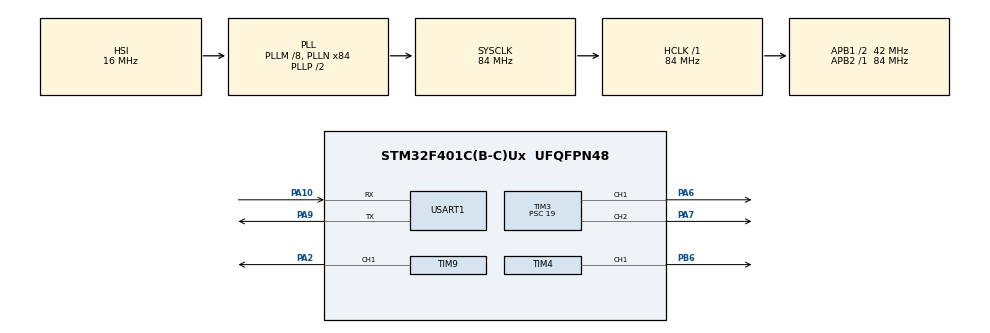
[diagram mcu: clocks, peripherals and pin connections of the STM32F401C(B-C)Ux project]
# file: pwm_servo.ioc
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Dma.Request0=USART1_RX
Dma.USART1_RX.0.Direction=DMA_PERIPH_TO_MEMORY
Dma.USART1_RX.0.FIFOMode=DMA_FIFOMODE_DISABLE
Dma.USART1_RX.0.Instance=DMA2_Stream2
Dma.USART1_RX.0.MemDataAlignment=DMA_MDATAALIGN_BYTE
Dma.USART1_RX.0.MemInc=DMA_MINC_ENABLE
Dma.USART1_RX.0.Mode=DMA_CIRCULAR
Dma.USART1_RX.0.PeriphDataAlignment=DMA_PDATAALIGN_BYTE
Dma.USART1_RX.0.PeriphInc=DMA_PINC_DISABLE
Dma.USART1_RX.0.Priority=DMA_PRIORITY_LOW
FREERTOS.Tasks01=servo,24,256,StartDefaultTask,Default,NULL,Dynamic,NULL,NULL;buzzer,23,256,StartTask02,Default,NULL,Dynamic,NULL,NULL;led,9,256,StartTask03,Default,NULL,Dynamic,NULL,NULL
FREERTOS.configTOTAL_HEAP_SIZE=15000
FREERTOS.configUSE_NEWLIB_REENTRANT=1
Mcu.Family=STM32F4
Mcu.Name=STM32F401C(B-C)Ux
Mcu.Package=UFQFPN48
NVIC.DMA2_Stream2_IRQn=true\:5\:0\:false\:false\:true\:true\:false\:true\:true
NVIC.PriorityGroup=NVIC_PRIORITYGROUP_4
NVIC.TIM1_UP_TIM10_IRQn=true\:15\:0\:false\:false\:true\:false\:false\:true\:true
NVIC.TimeBase=TIM1_UP_TIM10_IRQn
NVIC.TimeBaseIP=TIM1
PA10.Mode=Asynchronous
PA10.Signal=USART1_RX
PA13.Mode=Serial_Wire
PA13.Signal=SYS_JTMS-SWDIO
PA14.Mode=Serial_Wire
PA14.Signal=SYS_JTCK-SWCLK
PA2.Signal=S_TIM9_CH1
PA6.Signal=S_TIM3_CH1
PA7.Signal=S_TIM3_CH2
PA9.Mode=Asynchronous
PA9.Signal=USART1_TX
PB6.Signal=S_TIM4_CH1
PH0\ -\ OSC_IN.Mode=HSE-External-Oscillator
PH0\ -\ OSC_IN.Signal=RCC_OSC_IN
PH1\ -\ OSC_OUT.Mode=HSE-External-Oscillator
PH1\ -\ OSC_OUT.Signal=RCC_OSC_OUT
ProjectManager.HeapSize=0x200
ProjectManager.StackSize=0x400
ProjectManager.TargetToolchain=STM32CubeIDE
RCC.48MHZClocksFreq_Value=42000000
RCC.AHBFreq_Value=84000000
RCC.APB1CLKDivider=RCC_HCLK_DIV2
RCC.APB1Freq_Value=42000000
RCC.APB1TimFreq_Value=84000000
RCC.APB2Freq_Value=84000000
RCC.APB2TimFreq_Value=84000000
RCC.CortexFreq_Value=84000000
RCC.HCLKFreq_Value=84000000
RCC.HSE_VALUE=25000000
RCC.HSI_VALUE=16000000
RCC.LSE_VALUE=32768
RCC.PLLM=8
RCC.PLLN=84
RCC.SYSCLKFreq_VALUE=84000000
RCC.SYSCLKSource=RCC_SYSCLKSOURCE_PLLCLK
RCC.VCOOutputFreq_Value=168000000
SH.S_TIM3_CH1.0=TIM3_CH1,PWM Generation1 CH1
SH.S_TIM3_CH2.0=TIM3_CH2,PWM Generation2 CH2
SH.S_TIM4_CH1.0=TIM4_CH1,PWM Generation1 CH1
SH.S_TIM9_CH1.0=TIM9_CH1,PWM Generation1 CH1
TIM3.Channel-PWM\ Generation1\ CH1=TIM_CHANNEL_1
TIM3.Channel-PWM\ Generation2\ CH2=TIM_CHANNEL_2
TIM3.Period=41999
TIM3.Prescaler=19
TIM3.Pulse-PWM\ Generation1\ CH1=21000-1
TIM3.Pulse-PWM\ Generation2\ CH2=5250-1
TIM4.Channel-PWM\ Generation1\ CH1=TIM_CHANNEL_1
TIM4.Period=10000-1
TIM4.Prescaler=168-1
TIM4.Pulse-PWM\ Generation1\ CH1=500
TIM9.AutoReloadPreload=TIM_AUTORELOAD_PRELOAD_ENABLE
TIM9.Channel-PWM\ Generation1\ CH1=TIM_CHANNEL_1
TIM9.Period=1000
TIM9.Prescaler=42
USART1.VirtualMode=VM_ASYNC
VP_FREERTOS_VS_CMSIS_V2.Mode=CMSIS_V2
VP_SYS_VS_tim1.Mode=TIM1
VP_TIM3_VS_ClockSourceINT.Mode=Internal
VP_TIM4_VS_ClockSourceINT.Mode=Internal
VP_TIM9_VS_ClockSourceINT.Mode=Internal
board=custom

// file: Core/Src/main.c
/* USER CODE BEGIN Header */
/**
  ******************************************************************************
  * @file           : main.c
  * @brief          : Main program body
  ******************************************************************************
  * @attention
  *
  * Copyright (c) 2024 STMicroelectronics.
  * All rights reserved.
  *
  * This software is licensed under terms that can be found in the LICENSE file
  * in the root directory of this software component.
  * If no LICENSE file comes with this software, it is provided AS-IS.
  *
  ******************************************************************************
  */
/* USER CODE END Header */
#include "main.h"
#include "cmsis_os.h"
#include "dma.h"
#include "tim.h"
#include "usart.h"
#include "gpio.h"

/* USER CODE BEGIN PTD */

#define OCTAVE1 1
#define OCTAVE2 2
#define OCTAVE3 4
#define OCTAVE4 8
#define OCTAVE5 16
#define OCTAVE6 32
#define OCTAVE7 64
#define OCTAVE8 128

typedef enum{
	C = 61162/OCTAVE5,
	D = 54484/OCTAVE5,
	E = 48540/OCTAVE5,
	F = 45816/OCTAVE5,
	G = 40816/OCTAVE5,
	A = 36364/OCTAVE5,
	B = 32396/OCTAVE5,
	C_= 30578/OCTAVE5
}pitch_arr;
/* USER CODE END PTD */

/* USER CODE BEGIN PV */
uint8_t uart_send_data[64];
uint8_t uart_rx_data;
/* USER CODE END PV */

void SystemClock_Config(void);
void MX_FREERTOS_Init(void);
/* USER CODE BEGIN PFP */
void uart_send(uint8_t uart_num,char *fmt,...);
void buzzer_control();
void led_pwm_control(uint32_t *pretime,uint16_t *led_pwm_speed);
void servo_control(int16_t *servo_tick);

void HAL_UART_RxCpltCallback(UART_HandleTypeDef *huart)
{
	if(huart->Instance==huart1.Instance){
		UART_Start_Receive_DMA(&huart1, &uart_rx_data, 1);
	}
  UNUSED(huart);
}

void uart_send(uint8_t uart_num,char *fmt,...){
	va_list arg;
	va_start(arg,fmt);

	vsnprintf((char *)uart_send_data,64,fmt,arg);

	if(uart_num==1){
		HAL_UART_Transmit(&huart1, uart_send_data, 64, 10);
	}

	memset(uart_send_data,0,64);
	va_end(arg);
}

uint32_t pretime1;
bool buzzer_on=false;

void buzzer_control(){
	if(!buzzer_on){
		pretime1 = HAL_GetTick();
	}
	if((HAL_GetTick()-pretime1>=100)&&buzzer_on){
		pretime1=HAL_GetTick();
		htim9.Instance->CCR1 = 0;
		buzzer_on = false;
	}
	if(buzzer_on){
		return;
	}
	switch (uart_rx_data){
	case 'q':
		htim9.Instance->ARR = C;
		htim9.Instance->CCR1 = C/2;
		buzzer_on = true;
		uart_send(1,"C\n");
		break;
	case 'w':
		htim9.Instance->ARR = D;
		htim9.Instance->CCR1 = D/2;
		uart_send(1,"D\n");
		buzzer_on = true;
		break;
	case 'e':
		htim9.Instance->ARR = E;
		htim9.Instance->CCR1 = E/2;
		uart_send(1,"E\n");
		buzzer_on = true;
		break;
	case 'r':
		htim9.Instance->ARR = F;
		htim9.Instance->CCR1 = F/2;
		uart_send(1,"F\n");
		buzzer_on = true;
		break;
	case 't':
		htim9.Instance->ARR = G;
		htim9.Instance->CCR1 = G/2;
		uart_send(1,"G\n");
		buzzer_on = true;
		break;
	case 'y':
		htim9.Instance->ARR = A;
		htim9.Instance->CCR1 = A/2;
		uart_send(1,"A\n");
		buzzer_on = true;
		break;
	case 'u':
		htim9.Instance->ARR = B;
		htim9.Instance->CCR1 = B/2;
		uart_send(1,"B\n");
		buzzer_on = true;
		break;
	case 'i':
		htim9.Instance->ARR = C_;
		htim9.Instance->CCR1 = C_/2;
		uart_send(1,"C+\n");
		buzzer_on = true;
		break;
	default:
		break;
	}
}

void servo_control(int16_t *servo_tick){
	htim4.Instance->CCR1 = *servo_tick;
	if(uart_rx_data=='a'){
		if(*servo_tick<=140){
			uart_send(1,"servo minus degree is max!\n");
			*servo_tick=1300;
			return;
		}
		*servo_tick-=20;
		uart_send(1,"servo minus:%dtick,%d.%dms,%d'\n",
				*servo_tick,
				(*servo_tick/500),(*servo_tick/50)-(*servo_tick/500)*10,
				(*servo_tick-140)*180/1180);
	}
	else if(uart_rx_data=='s'){
		if(*servo_tick>=1320){
			uart_send(1,"servo plus degree is max!\n");
			*servo_tick=140;
			return;
		}
		*servo_tick+=20;
		uart_send(1,"servo plus:%dtick,%d.%dms,%d'\n",
				*servo_tick,
				(*servo_tick/500),(*servo_tick/50)-(*servo_tick/500)*10,
				(*servo_tick-140)*180/1180);
	}
}

void led_pwm_control(uint32_t *pretime,uint16_t *led_pwm_speed){
	uint16_t led_pwm_cal_val=500;
	if(HAL_GetTick()-*pretime>=50){
		htim3.Instance->CCR1=(htim3.Instance->CCR1+led_pwm_speed[0])%htim3.Init.Period;
		htim3.Instance->CCR2=(htim3.Instance->CCR2+led_pwm_speed[1])%htim3.Init.Period;
		*pretime=HAL_GetTick();
	}

	switch (uart_rx_data){
		case '1': //up led 1
			if(led_pwm_speed[0]<led_pwm_cal_val*4){
				led_pwm_speed[0]=led_pwm_speed[0]+led_pwm_cal_val;
				uart_send(1,"led 1 up speed, speed val : %d.\n",led_pwm_speed[0]);
			}
			else{
				uart_send(1,"led 1 pwm speed %d is too fast!\n",led_pwm_speed[0]);
			}
			break;
		case '2': //down led 1
			if(led_pwm_speed[0]>led_pwm_cal_val){
				led_pwm_speed[0]= led_pwm_speed[0]-led_pwm_cal_val;
				uart_send(1,"led 1 down speed, speed val : %d.\n",led_pwm_speed[0]);
			}
			else{
				uart_send(1,"led 1 pwm speed %d is too slow!\n",led_pwm_speed[0]);
			}
		  break;
		case '3': //up led 1
		  if(led_pwm_speed[1]<led_pwm_cal_val*4){
		   led_pwm_speed[1]=led_pwm_speed[1]+led_pwm_cal_val;
		   uart_send(1,"led 2 up speed, led speed val : %d.\n",led_pwm_speed[1]);
		  }
		  else{
		  	uart_send(1,"led 2 pwm speed %d is too fast!\n",led_pwm_speed[1]);
		  }
		  break;
		case '4': //down led 1
		  if(led_pwm_speed[1]>led_pwm_cal_val){
		  	led_pwm_speed[1]= led_pwm_speed[1]-led_pwm_cal_val;
		  	uart_send(1,"led 2 down speed, led speed val : %d.\n",led_pwm_speed[1]);
		  }
		  else{
		  	uart_send(1,"led 2 pwm speed %d is too slow!\n",led_pwm_speed[1]);
		  }
		  break;
	}
}
/* USER CODE END PFP */

int main(void)
{

  /* MCU Configuration--------------------------------------------------------*/

  /* Reset of all peripherals, Initializes the Flash interface and the Systick. */
  HAL_Init();

  /* Configure the system clock */
  SystemClock_Config();

  /* Initialize all configured peripherals */
  MX_GPIO_Init();
  MX_DMA_Init();
  MX_USART1_UART_Init();
  MX_TIM3_Init();
  MX_TIM4_Init();
  MX_TIM9_Init();
  /* USER CODE BEGIN 2 */
  UART_Start_Receive_DMA(&huart1, &uart_rx_data, 1);
  HAL_TIM_PWM_Start(&htim3, TIM_CHANNEL_1);
  HAL_TIM_PWM_Start(&htim3, TIM_CHANNEL_2);
  HAL_TIM_PWM_Start(&htim4, TIM_CHANNEL_1);
  HAL_TIM_PWM_Start(&htim9, TIM_CHANNEL_1);

  /* USER CODE END 2 */

  /* Init scheduler */
  osKernelInitialize();

  /* Call init function for freertos objects (in freertos.c) */
  MX_FREERTOS_Init();

  /* Start scheduler */
  osKernelStart();

  /* We should never get here as control is now taken by the scheduler */
  /* Infinite loop */
  while (1)
  {

  }
}

void SystemClock_Config(void)
{
  RCC_OscInitTypeDef RCC_OscInitStruct = {0};
  RCC_ClkInitTypeDef RCC_ClkInitStruct = {0};

  /** Configure the main internal regulator output voltage
  */
  __HAL_RCC_PWR_CLK_ENABLE();
  __HAL_PWR_VOLTAGESCALING_CONFIG(PWR_REGULATOR_VOLTAGE_SCALE2);

  /** Initializes the RCC Oscillators according to the specified parameters
  * in the RCC_OscInitTypeDef structure.
  */
  RCC_OscInitStruct.OscillatorType = RCC_OSCILLATORTYPE_HSI;
  RCC_OscInitStruct.HSIState = RCC_HSI_ON;
  RCC_OscInitStruct.HSICalibrationValue = RCC_HSICALIBRATION_DEFAULT;
  RCC_OscInitStruct.PLL.PLLState = RCC_PLL_ON;
  RCC_OscInitStruct.PLL.PLLSource = RCC_PLLSOURCE_HSI;
  RCC_OscInitStruct.PLL.PLLM = 8;
  RCC_OscInitStruct.PLL.PLLN = 84;
  RCC_OscInitStruct.PLL.PLLP = RCC_PLLP_DIV2;
  RCC_OscInitStruct.PLL.PLLQ = 4;
  if (HAL_RCC_OscConfig(&RCC_OscInitStruct) != HAL_OK)
  {
    Error_Handler();
  }

  /** Initializes the CPU, AHB and APB buses clocks
  */
  RCC_ClkInitStruct.ClockType = RCC_CLOCKTYPE_HCLK|RCC_CLOCKTYPE_SYSCLK
                              |RCC_CLOCKTYPE_PCLK1|RCC_CLOCKTYPE_PCLK2;
  RCC_ClkInitStruct.SYSCLKSource = RCC_SYSCLKSOURCE_PLLCLK;
  RCC_ClkInitStruct.AHBCLKDivider = RCC_SYSCLK_DIV1;
  RCC_ClkInitStruct.APB1CLKDivider = RCC_HCLK_DIV2;
  RCC_ClkInitStruct.APB2CLKDivider = RCC_HCLK_DIV1;

  if (HAL_RCC_ClockConfig(&RCC_ClkInitStruct, FLASH_LATENCY_2) != HAL_OK)
  {
    Error_Handler();
  }
}

void HAL_TIM_PeriodElapsedCallback(TIM_HandleTypeDef *htim)
{
  if (htim->Instance == TIM1) {
    HAL_IncTick();
  }
}

void Error_Handler(void)
{
  __disable_irq();
  while (1)
  {
  }
}

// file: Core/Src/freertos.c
/* USER CODE BEGIN Header */
/**
  ******************************************************************************
  * File Name          : freertos.c
  * Description        : Code for freertos applications
  ******************************************************************************
  * @attention
  *
  * Copyright (c) 2024 STMicroelectronics.
  * All rights reserved.
  *
  * This software is licensed under terms that can be found in the LICENSE file
  * in the root directory of this software component.
  * If no LICENSE file comes with this software, it is provided AS-IS.
  *
  ******************************************************************************
  */
/* USER CODE END Header */

#include "FreeRTOS.h"
#include "task.h"
#include "main.h"
#include "cmsis_os.h"

/* USER CODE BEGIN Variables */
extern uint8_t uart_rx_data;
extern void buzzer_control();
extern void led_pwm_control(uint32_t *pretime,uint16_t *led_pwm_speed);
extern void servo_control(int16_t *servo_tick);
extern void uart_send(uint8_t uart_num,char *fmt,...);
/* USER CODE END Variables */
/* Definitions for servo */
osThreadId_t servoHandle;
const osThreadAttr_t servo_attributes = {
  .name = "servo",
  .stack_size = 256 * 4,
  .priority = (osPriority_t) osPriorityNormal,
};
/* Definitions for buzzer */
osThreadId_t buzzerHandle;
const osThreadAttr_t buzzer_attributes = {
  .name = "buzzer",
  .stack_size = 256 * 4,
  .priority = (osPriority_t) osPriorityBelowNormal7,
};
/* Definitions for led */
osThreadId_t ledHandle;
const osThreadAttr_t led_attributes = {
  .name = "led",
  .stack_size = 256 * 4,
  .priority = (osPriority_t) osPriorityLow1,
};

void StartDefaultTask(void *argument);
void StartTask02(void *argument);
void StartTask03(void *argument);

void MX_FREERTOS_Init(void); /* (MISRA C 2004 rule 8.1) */

void MX_FREERTOS_Init(void) {

  /* Create the thread(s) */
  /* creation of servo */
  servoHandle = osThreadNew(StartDefaultTask, NULL, &servo_attributes);

  /* creation of buzzer */
  buzzerHandle = osThreadNew(StartTask02, NULL, &buzzer_attributes);

  /* creation of led */
  ledHandle = osThreadNew(StartTask03, NULL, &led_attributes);

}

void StartDefaultTask(void *argument)
{
  /* USER CODE BEGIN StartDefaultTask */
	int16_t servo_tick = 140;
  /* Infinite loop */
  for(;;)
  {
  	servo_control(&servo_tick);
  	if(uart_rx_data=='a'||uart_rx_data=='s'){
  		uart_rx_data = 0;
  	}
		osDelay(1);
  }
  /* USER CODE END StartDefaultTask */
}

void StartTask02(void *argument)
{
  /* USER CODE BEGIN StartTask02 */
  /* Infinite loop */
  for(;;)
  {
  	buzzer_control();
  	if(uart_rx_data=='q'||uart_rx_data=='w'||uart_rx_data=='e'
  			||uart_rx_data=='r'||uart_rx_data=='t'||uart_rx_data=='y'
  			||uart_rx_data=='u'||uart_rx_data=='i'){
  		uart_rx_data = 0;
  	}
  	osDelay(1);
  }
  /* USER CODE END StartTask02 */
}

void StartTask03(void *argument)
{
  /* USER CODE BEGIN StartTask03 */
	uint32_t pretime=HAL_GetTick();
	uint16_t led_fisrt_pwm_speed[2]={500,500};
  /* Infinite loop */
  for(;;)
  {
  	led_pwm_control(&pretime, &led_fisrt_pwm_speed[0]);
  	if(uart_rx_data=='1'||uart_rx_data=='2'
  			||uart_rx_data=='3'||uart_rx_data=='4'){
  		uart_rx_data = 0;
  	}
  	osDelay(1);
  }
  /* USER CODE END StartTask03 */
}
